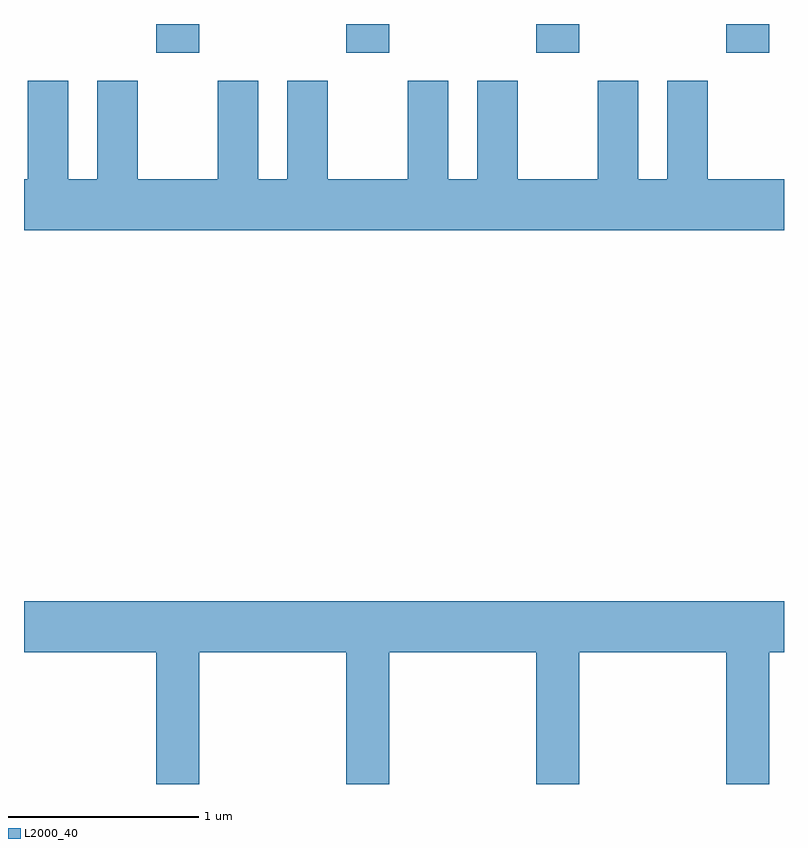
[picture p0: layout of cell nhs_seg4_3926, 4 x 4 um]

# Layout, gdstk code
import gdstk
lib = gdstk.Library(unit=1e-6, precision=1e-09)
def R(c, l, rs):  # rectangles x0, y0, x1, y1
    for r in rs: c.add(gdstk.rectangle(r[:2], r[2:], *l))
def A(c, l, x, y, w, h, nx, ny, dx, dy):  # array of equal rectangles
    R(c, l, [(x+i*dx, y+j*dy, x+i*dx+w, y+j*dy+h) for i in range(nx) for j in range(ny)])
def P(c, l, *ps):  # polygons
    for p in ps: c.add(gdstk.Polygon(p, *l))
L2000_40 = (2000, 40)

nhs_seg4_3926 = lib.new_cell('nhs_seg4_3926')
A(nhs_seg4_3926, L2000_40, 300.306, 1357.831, 0.228, 0.151, 4, 1, 1, 0)
P(nhs_seg4_3926, L2000_40, [(301.996,1357.684),(301.996,1357.164),(301.844,1357.164),(301.844,1357.684),(301.631,1357.684),(301.631,1357.164),(301.209,1357.164),(301.209,1357.684),(300.996,1357.684),(300.996,1357.164),(300.844,1357.164),(300.844,1357.684),(300.631,1357.684),(300.631,1357.164),(300.209,1357.164),(300.209,1357.684),(299.996,1357.684),(299.996,1357.164),(299.844,1357.164),(299.844,1357.684),(299.631,1357.684),(299.631,1357.164),(299.611,1357.164),(299.611,1356.896),(303.611,1356.896),(303.611,1357.164),(303.209,1357.164),(303.209,1357.684),(302.996,1357.684),(302.996,1357.164),(302.844,1357.164),(302.844,1357.684),(302.631,1357.684),(302.631,1357.164),(302.209,1357.164),(302.209,1357.684)],
  [(300.534,1354.676),(301.306,1354.676),(301.306,1353.982),(301.534,1353.982),(301.534,1354.676),(302.306,1354.676),(302.306,1353.982),(302.534,1353.982),(302.534,1354.676),(303.306,1354.676),(303.306,1353.982),(303.534,1353.982),(303.534,1354.676),(303.611,1354.676),(303.611,1354.944),(299.611,1354.944),(299.611,1354.676),(300.306,1354.676),(300.306,1353.982),(300.534,1353.982)])

lib.write_gds('nhs_seg4_3926.gds')
